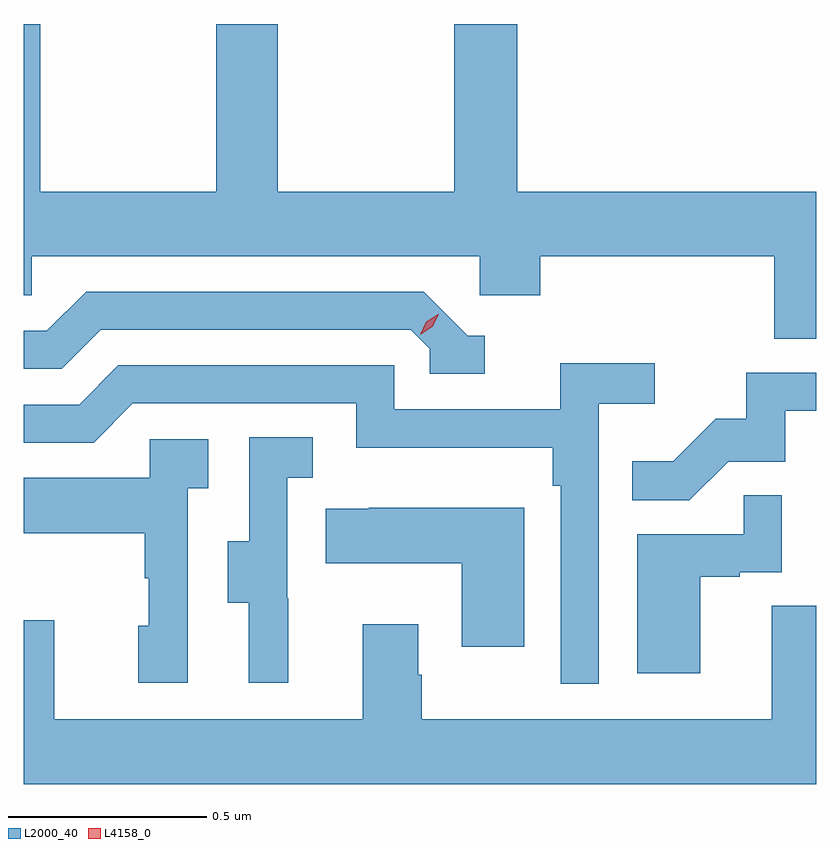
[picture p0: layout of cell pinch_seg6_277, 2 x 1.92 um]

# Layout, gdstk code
import gdstk
lib = gdstk.Library(unit=1e-6, precision=1e-09)
def P(c, l, *ps):  # polygons
    for p in ps: c.add(gdstk.Polygon(p, *l))
L2000_40 = (2000, 40)
L4158_0 = (4158, 0)

pinch_seg6_277 = lib.new_cell('pinch_seg6_277')
P(pinch_seg6_277, L2000_40, [(792.501,983.464),(791.747,983.464),(791.747,983.887),(791.587,983.887),(791.587,983.464),(791.142,983.464),(791.142,983.887),(790.987,983.887),(790.987,983.464),(790.542,983.464),(790.542,983.887),(790.501,983.887),(790.501,983.202),(790.521,983.202),(790.521,983.3),(791.652,983.3),(791.652,983.202),(791.804,983.202),(791.804,983.3),(792.395,983.3),(792.395,983.092),(792.501,983.092)],
  [(791.665,983.1),(791.622,983.1),(791.511,983.211),(790.658,983.211),(790.559,983.112),(790.501,983.112),(790.501,983.016),(790.596,983.016),(790.695,983.115),(791.478,983.115),(791.526,983.067),(791.526,983.004),(791.665,983.004)],
  [(791.952,982.928),(792.094,982.928),(792.094,983.03),(791.855,983.03),(791.855,982.914),(791.436,982.914),(791.436,983.025),(790.739,983.025),(790.64,982.926),(790.501,982.926),(790.501,982.83),(790.677,982.83),(790.776,982.929),(791.34,982.929),(791.34,982.817),(791.836,982.817),(791.836,982.721),(791.856,982.721),(791.856,982.221),(791.952,982.221)],
  [(792.279,982.782),(792.423,982.782),(792.423,982.911),(792.501,982.911),(792.501,983.007),(792.325,983.007),(792.325,982.89),(792.248,982.89),(792.141,982.783),(792.037,982.783),(792.037,982.684),(792.181,982.684)],
  [(791.168,982.437),(791.166,982.437),(791.166,982.741),(791.23,982.741),(791.23,982.844),(791.07,982.844),(791.07,982.581),(791.015,982.581),(791.015,982.426),(791.069,982.426),(791.069,982.224),(791.168,982.224)],
  [(790.914,982.715),(790.966,982.715),(790.966,982.839),(790.818,982.839),(790.818,982.741),(790.501,982.741),(790.501,982.601),(790.806,982.601),(790.806,982.487),(790.816,982.487),(790.816,982.368),(790.79,982.368),(790.79,982.224),(790.914,982.224)],
  [(792.208,982.491),(792.308,982.491),(792.308,982.503),(792.414,982.503),(792.414,982.697),(792.319,982.697),(792.319,982.599),(792.05,982.599),(792.05,982.248),(792.208,982.248)],
  [(791.764,982.666),(791.371,982.666),(791.371,982.663),(791.263,982.663),(791.263,982.526),(791.606,982.526),(791.606,982.314),(791.764,982.314)],
  [(792.501,982.418),(792.389,982.418),(792.389,982.132),(791.505,982.132),(791.505,982.244),(791.497,982.244),(791.497,982.372),(791.357,982.372),(791.357,982.132),(790.577,982.132),(790.577,982.381),(790.501,982.381),(790.501,981.968),(792.501,981.968)])
P(pinch_seg6_277, L4158_0, [(791.501,983.102),(791.501,983.102),(791.517,983.135),(791.547,983.154),(791.548,983.154),(791.548,983.154),(791.532,983.122),(791.502,983.102)])

lib.write_gds('pinch_seg6_277.gds')
